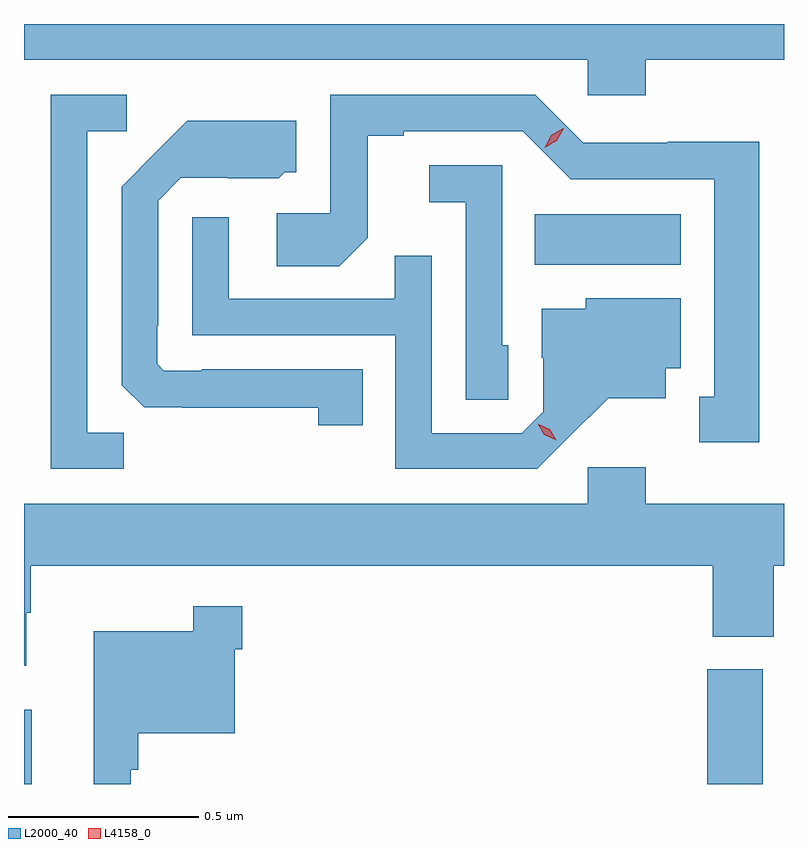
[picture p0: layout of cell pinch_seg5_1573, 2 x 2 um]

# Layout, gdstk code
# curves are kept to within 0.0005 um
import gdstk
lib = gdstk.Library(unit=1e-6, precision=1e-09)
def R(c, l, rs):  # rectangles x0, y0, x1, y1
    for r in rs: c.add(gdstk.rectangle(r[:2], r[2:], *l))
def P(c, l, *ps):  # polygons
    for p in ps: c.add(gdstk.Polygon(p, *l))
L2000_40 = (2000, 40)
L4158_0 = (4158, 0)

pinch_seg5_1573 = lib.new_cell('pinch_seg5_1573')
R(pinch_seg5_1573, L2000_40, [(303.19,860.182,303.211,860.377), (304.988,860.182,305.134,860.484), (304.534,861.548,304.918,861.682)])
P(pinch_seg5_1573, L2000_40, [(304.826,862.088),(305.19,862.088),(305.19,862.182),(303.19,862.182),(303.19,862.088),(304.674,862.088),(304.674,861.995),(304.826,861.995)],
  [(305.125,861.872),(304.884,861.872),(304.884,861.87),(304.662,861.87),(304.536,861.996),(303.996,861.996),(303.996,861.684),(303.855,861.684),(303.855,861.544),(304.019,861.544),(304.095,861.62),(304.095,861.888),(304.189,861.888),(304.189,861.9),(304.503,861.9),(304.629,861.774),(305.006,861.774),(305.006,861.201),(304.967,861.201),(304.967,861.081),(305.125,861.081)],
  [(303.453,861.107),(303.357,861.107),(303.357,861.9),(303.46,861.9),(303.46,861.996),(303.261,861.996),(303.261,861.012),(303.453,861.012)],
  [(304.082,861.273),(303.658,861.273),(303.658,861.27),(303.558,861.27),(303.54,861.288),(303.54,861.388),(303.543,861.388),(303.543,861.717),(303.603,861.777),(303.726,861.777),(303.726,861.776),(303.86,861.776),(303.876,861.792),(303.907,861.792),(303.907,861.928),(303.619,861.928),(303.447,861.754),(303.447,861.232),(303.506,861.173),(303.607,861.173),(303.607,861.172),(303.964,861.172),(303.964,861.126),(304.082,861.126)],
  [(304.464,861.336),(304.449,861.336),(304.449,861.81),(304.257,861.81),(304.257,861.713),(304.353,861.713),(304.353,861.193),(304.464,861.193)],
  [(304.624,861.095),(304.727,861.197),(304.879,861.197),(304.879,861.276),(304.918,861.276),(304.918,861.46),(304.668,861.46),(304.668,861.433),(304.553,861.433),(304.553,861.304),(304.557,861.304),(304.557,861.162),(304.5,861.105),(304.263,861.105),(304.263,861.572),(304.165,861.572),(304.165,861.459),(303.729,861.459),(303.729,861.673),(303.633,861.673),(303.633,861.363),(304.167,861.363),(304.167,861.012),(304.54,861.012)],
  [(303.196,860.633),(303.208,860.633),(303.208,860.756),(305.003,860.756),(305.003,860.569),(305.163,860.569),(305.163,860.756),(305.19,860.756),(305.19,860.92),(304.826,860.92),(304.826,861.016),(304.674,861.016),(304.674,860.92),(303.19,860.92),(303.19,860.493),(303.196,860.493)],
  [(303.471,860.219),(303.491,860.219),(303.491,860.315),(303.744,860.315),(303.744,860.537),(303.764,860.537),(303.764,860.65),(303.636,860.65),(303.636,860.584),(303.374,860.584),(303.374,860.182),(303.471,860.182)])
P(pinch_seg5_1573, L4158_0, [(304.59,861.086),(304.559,861.101),(304.542,861.13),(304.542,861.13),(304.542,861.13),(304.573,861.115),(304.59,861.086),(304.59,861.086)],
  [(304.56,861.857),(304.56,861.857),(304.577,861.889),(304.609,861.908),(304.61,861.908),(304.61,861.908),(304.592,861.875),(304.56,861.857)])

lib.write_gds('pinch_seg5_1573.gds')
